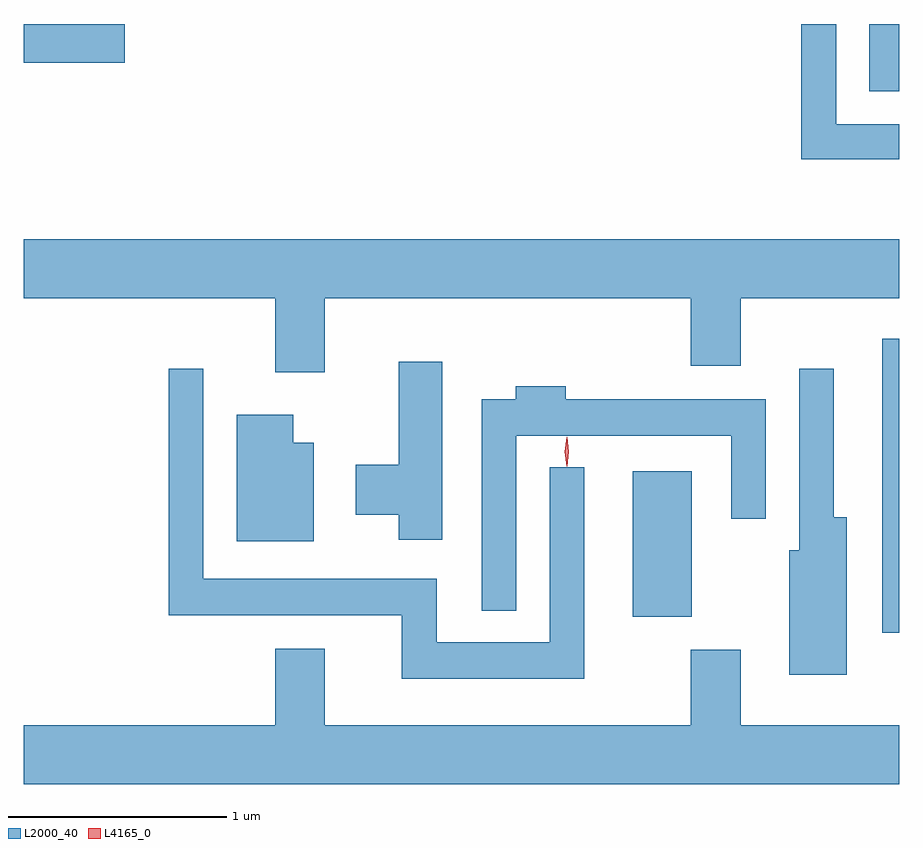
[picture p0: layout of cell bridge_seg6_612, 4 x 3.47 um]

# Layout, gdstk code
import gdstk
lib = gdstk.Library(unit=1e-6, precision=1e-09)
def R(c, l, rs):  # rectangles x0, y0, x1, y1
    for r in rs: c.add(gdstk.rectangle(r[:2], r[2:], *l))
def P(c, l, *ps):  # polygons
    for p in ps: c.add(gdstk.Polygon(p, *l))
L2000_40 = (2000, 40)
L4165_0 = (4165, 0)

bridge_seg6_612 = lib.new_cell('bridge_seg6_612')
R(bridge_seg6_612, L2000_40, [(404.356,1599.566,404.433,1600.909), (403.216,1599.641,403.484,1600.304), (404.296,1602.041,404.433,1602.348), (400.433,1602.171,400.894,1602.348)])
P(bridge_seg6_612, L2000_40, [(404.433,1601.889),(404.144,1601.889),(404.144,1602.348),(403.986,1602.348),(403.986,1601.731),(404.433,1601.731)],
  [(401.809,1601.096),(403.481,1601.096),(403.481,1600.786),(403.709,1600.786),(403.709,1601.096),(404.433,1601.096),(404.433,1601.364),(400.433,1601.364),(400.433,1601.096),(401.581,1601.096),(401.581,1600.756),(401.809,1600.756)],
  [(402.344,1600.804),(402.146,1600.804),(402.146,1600.334),(401.951,1600.334),(401.951,1600.106),(402.146,1600.106),(402.146,1599.991),(402.344,1599.991)],
  [(402.994,1600.323),(402.836,1600.323),(402.836,1599.524),(402.319,1599.524),(402.319,1599.814),(401.254,1599.814),(401.254,1600.773),(401.096,1600.773),(401.096,1599.646),(402.161,1599.646),(402.161,1599.356),(402.994,1599.356)],
  [(404.194,1600.094),(404.134,1600.094),(404.134,1600.773),(403.976,1600.773),(403.976,1599.944),(403.931,1599.944),(403.931,1599.376),(404.194,1599.376)],
  [(402.684,1600.466),(403.666,1600.466),(403.666,1600.088),(403.824,1600.088),(403.824,1600.634),(402.909,1600.634),(402.909,1600.694),(402.681,1600.694),(402.681,1600.634),(402.526,1600.634),(402.526,1599.668),(402.684,1599.668)],
  [(401.759,1600.434),(401.664,1600.434),(401.664,1600.564),(401.406,1600.564),(401.406,1599.986),(401.759,1599.986)],
  [(404.433,1599.144),(403.709,1599.144),(403.709,1599.489),(403.481,1599.489),(403.481,1599.144),(401.809,1599.144),(401.809,1599.494),(401.581,1599.494),(401.581,1599.144),(400.433,1599.144),(400.433,1598.876),(404.433,1598.876)])
P(bridge_seg6_612, L4165_0, [(402.915,1600.327),(402.914,1600.328),(402.904,1600.394),(402.914,1600.46),(402.914,1600.46),(402.915,1600.46),(402.924,1600.394),(402.915,1600.328)])

lib.write_gds('bridge_seg6_612.gds')
